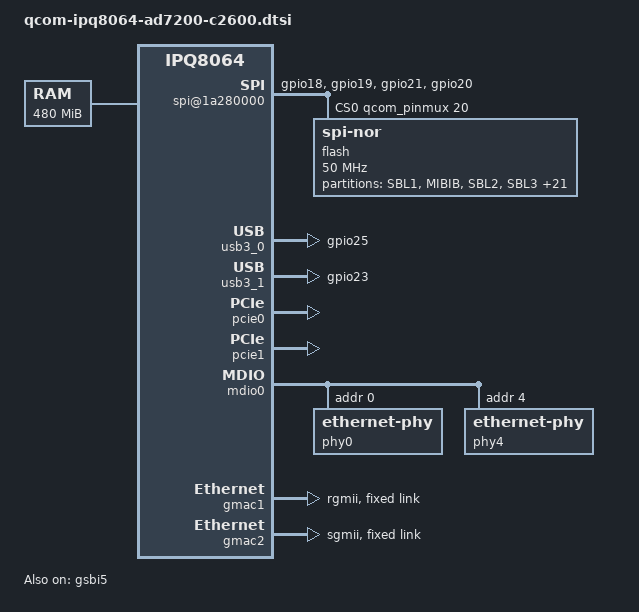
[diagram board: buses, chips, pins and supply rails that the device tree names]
// SPDX-License-Identifier: GPL-2.0-or-later OR MIT

#include "qcom-ipq8064-v2.0.dtsi"

#include <dt-bindings/input/input.h>

/ {
	memory@0 {
		reg = <0x42000000 0x1e000000>;
		device_type = "memory";
	};

	aliases {
		mdio-gpio0 = &mdio0;
		label-mac-device = &gmac2;
	};
};

&qcom_pinmux {
	spi_pins: spi_pins {
		mux {
			pins = "gpio18", "gpio19", "gpio21";
			function = "gsbi5";
			bias-pull-down;
		};

		data {
			pins = "gpio18", "gpio19";
			drive-strength = <10>;
		};

		cs {
			pins = "gpio20";
			function = "gpio";
			drive-strength = <10>;
			bias-pull-up;
		};

		clk {
			pins = "gpio21";
			drive-strength = <12>;
		};
	};

	usb0_pwr_en_pin: usb0_pwr_en_pin {
		mux {
			pins = "gpio25";
			function = "gpio";
			drive-strength = <10>;
			bias-pull-up;
			output-high;
		};
	};

	usb1_pwr_en_pin: usb1_pwr_en_pin {
		mux {
			pins = "gpio23";
			function = "gpio";
			drive-strength = <10>;
			bias-pull-up;
			output-high;
		};
	};
};

&gsbi5 {
	qcom,mode = <GSBI_PROT_SPI>;
	status = "okay";

	spi@1a280000 {
		status = "okay";

		pinctrl-0 = <&spi_pins>;
		pinctrl-names = "default";

		cs-gpios = <&qcom_pinmux 20 GPIO_ACTIVE_HIGH>;

		flash@0 {
			compatible = "jedec,spi-nor";
			#address-cells = <1>;
			#size-cells = <1>;
			spi-max-frequency = <50000000>;
			reg = <0>;

			partition@0 {
				label = "SBL1";
				reg = <0x0 0x20000>;
				read-only;
			};

			partition@20000 {
				label = "MIBIB";
				reg = <0x20000 0x20000>;
				read-only;
			};

			partition@40000 {
				label = "SBL2";
				reg = <0x40000 0x20000>;
				read-only;
			};

			partition@60000 {
				label = "SBL3";
				reg = <0x60000 0x30000>;
				read-only;
			};

			partition@90000 {
				label = "DDRCONFIG";
				reg = <0x90000 0x10000>;
				read-only;
			};

			partition@a0000 {
				label = "SSD";
				reg = <0xa0000 0x10000>;
				read-only;
			};

			partition@b0000 {
				label = "TZ";
				reg = <0xb0000 0x30000>;
				read-only;
			};

			partition@e0000 {
				label = "RPM";
				reg = <0xe0000 0x20000>;
				read-only;
			};

			partition@100000 {
				label = "fs-uboot";
				reg = <0x100000 0x70000>;
				read-only;
			};

			partition@170000 {
				label = "uboot-env";
				reg = <0x170000 0x40000>;
				read-only;
			};

			partition@1b0000 {
				label = "radio";
				reg = <0x1b0000 0x40000>;
				read-only;
			};

			partition@1f0000 {
				label = "os-image";
				reg = <0x1f0000 0x400000>;
			};

			partition@5f0000 {
				label = "rootfs";
				reg = <0x5f0000 0x1900000>;
			};

			defaultmac: partition@1ef0000 {
				label = "default-mac";
				reg = <0x1ef0000 0x00200>;
				read-only;
			};

			partition@1ef0200 {
				label = "pin";
				reg = <0x1ef0200 0x00200>;
				read-only;
			};

			partition@1ef0400 {
				label = "product-info";
				reg = <0x1ef0400 0x0fc00>;
				read-only;
			};

			partition@1f00000 {
				label = "partition-table";
				reg = <0x1f00000 0x10000>;
				read-only;
			};

			partition@1f10000 {
				label = "soft-version";
				reg = <0x1f10000 0x10000>;
				read-only;
			};

			partition@1f20000 {
				label = "support-list";
				reg = <0x1f20000 0x10000>;
				read-only;
			};

			partition@1f30000 {
				label = "profile";
				reg = <0x1f30000 0x10000>;
				read-only;
			};

			partition@1f40000 {
				label = "default-config";
				reg = <0x1f40000 0x10000>;
				read-only;
			};

			partition@1f50000 {
				label = "user-config";
				reg = <0x1f50000 0x40000>;
				read-only;
			};

			partition@1f90000 {
				label = "qos-db";
				reg = <0x1f90000 0x40000>;
				read-only;
			};

			partition@1fd0000 {
				label = "usb-config";
				reg = <0x1fd0000 0x10000>;
				read-only;
			};

			partition@1fe0000 {
				label = "log";
				reg = <0x1fe0000 0x20000>;
				read-only;
			};
		};
	};
};

&usb3_0 {
	status = "okay";

	pinctrl-0 = <&usb0_pwr_en_pin>;
	pinctrl-names = "default";
};

&usb3_1 {
	status = "okay";

	pinctrl-0 = <&usb1_pwr_en_pin>;
	pinctrl-names = "default";
};

&pcie0 {
	status = "okay";
};

&pcie1 {
	status = "okay";
	max-link-speed = <1>;
};

&mdio0 {
	status = "okay";

	pinctrl-0 = <&mdio0_pins>;
	pinctrl-names = "default";

	phy0: ethernet-phy@0 {
		reg = <0>;
		qca,ar8327-initvals = <
			0x00004 0x7600000   /* PAD0_MODE */
			0x00008 0x1000000   /* PAD5_MODE */
			0x0000c 0x80        /* PAD6_MODE */
			0x000e4 0x6a545     /* MAC_POWER_SEL */
			0x000e0 0xc74164de  /* SGMII_CTRL */
			0x0007c 0x4e        /* PORT0_STATUS */
			0x00094 0x4e        /* PORT6_STATUS */
			>;
	};

	phy4: ethernet-phy@4 {
		reg = <4>;
	};
};

&gmac1 {
	status = "okay";
	phy-mode = "rgmii";
	qcom,id = <1>;

	pinctrl-0 = <&rgmii2_pins>;
	pinctrl-names = "default";

	mtd-mac-address = <&defaultmac 0x8>;
	mtd-mac-address-increment = <1>;

	fixed-link {
		speed = <1000>;
		full-duplex;
	};
};

&gmac2 {
	status = "okay";
	phy-mode = "sgmii";
	qcom,id = <2>;

	mtd-mac-address = <&defaultmac 0x8>;

	fixed-link {
		speed = <1000>;
		full-duplex;
	};
};

&adm_dma {
	status = "okay";
};
